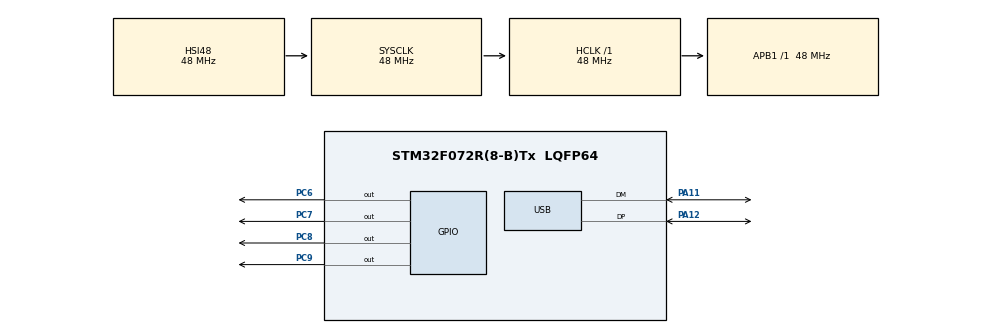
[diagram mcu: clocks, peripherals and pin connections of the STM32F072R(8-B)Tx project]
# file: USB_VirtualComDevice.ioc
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Mcu.Family=STM32F0
Mcu.Name=STM32F072R(8-B)Tx
Mcu.Package=LQFP64
NVIC.USB_IRQn=true\:0\:0\:false\:false\:true
PA11.Mode=Device
PA11.Signal=USB_DM
PA12.Mode=Device
PA12.Signal=USB_DP
PC6.Signal=GPIO_Output
PC7.Signal=GPIO_Output
PC8.Signal=GPIO_Output
PC9.Signal=GPIO_Output
ProjectManager.HeapSize=0x200
ProjectManager.StackSize=0x400
ProjectManager.TargetToolchain=EWARM
RCC.AHBFreq_Value=48000000
RCC.APB1Freq_Value=48000000
RCC.APB1TimFreq_Value=48000000
RCC.HCLKFreq_Value=48000000
RCC.SYSCLKFreq_VALUE=48000000
RCC.SYSCLKSource=RCC_SYSCLKSOURCE_HSI48
USB_DEVICE.CLASS_NAME_FS=CDC
USB_DEVICE.USBD_HandleTypeDef=hUsbDeviceFS
USB_DEVICE.VirtualMode=Cdc
USB_DEVICE.VirtualModeFS=Cdc_FS
VP_USB_DEVICE_VS_USB_DEVICE_CDC_FS.Mode=CDC_FS
board=USB_VirtualComDevice

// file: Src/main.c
/**
  ******************************************************************************
  * File Name          : main.c
  * Description        : Main program body
  ******************************************************************************
  *
  * COPYRIGHT(c) 2016 STMicroelectronics
  *
  * Redistribution and use in source and binary forms, with or without modification,
  * are permitted provided that the following conditions are met:
  *   1. Redistributions of source code must retain the above copyright notice,
  *      this list of conditions and the following disclaimer.
  *   2. Redistributions in binary form must reproduce the above copyright notice,
  *      this list of conditions and the following disclaimer in the documentation
  *      and/or other materials provided with the distribution.
  *   3. Neither the name of STMicroelectronics nor the names of its contributors
  *      may be used to endorse or promote products derived from this software
  *      without specific prior written permission.
  *
  * THIS SOFTWARE IS PROVIDED BY THE COPYRIGHT HOLDERS AND CONTRIBUTORS "AS IS"
  * AND ANY EXPRESS OR IMPLIED WARRANTIES, INCLUDING, BUT NOT LIMITED TO, THE
  * IMPLIED WARRANTIES OF MERCHANTABILITY AND FITNESS FOR A PARTICULAR PURPOSE ARE
  * DISCLAIMED. IN NO EVENT SHALL THE COPYRIGHT HOLDER OR CONTRIBUTORS BE LIABLE
  * FOR ANY DIRECT, INDIRECT, INCIDENTAL, SPECIAL, EXEMPLARY, OR CONSEQUENTIAL
  * DAMAGES (INCLUDING, BUT NOT LIMITED TO, PROCUREMENT OF SUBSTITUTE GOODS OR
  * SERVICES; LOSS OF USE, DATA, OR PROFITS; OR BUSINESS INTERRUPTION) HOWEVER
  * CAUSED AND ON ANY THEORY OF LIABILITY, WHETHER IN CONTRACT, STRICT LIABILITY,
  * OR TORT (INCLUDING NEGLIGENCE OR OTHERWISE) ARISING IN ANY WAY OUT OF THE USE
  * OF THIS SOFTWARE, EVEN IF ADVISED OF THE POSSIBILITY OF SUCH DAMAGE.
  *
  ******************************************************************************
  */
#include "stm32f0xx_hal.h"
#include "usb_device.h"
#include "gpio.h"

/* USER CODE BEGIN Includes */
//------------------------------------------------------------------------------
/* Projeto    : USB_VirtualComDevice
 * MCU        : STM32F072RB (32F072BDISCOVERY)
 * Copyright  : Atribuição (CC BY 4.0) Diego Moreno
 * Versão     : 1.0.0
 * Data	      : 01/07/2016
 * Descrição  : Cria uma interface USB/Serial com o PC, para que seja possível
 *              pisca os LEDs da placa 32F072BDISCOVERY com o teclado e um
 *              terminal.
 */

/* Includes */

//------------------------------------------------------------------------------
/* USER CODE END Includes */

/* USER CODE BEGIN PV */
/* Private variables ---------------------------------------------------------*/
uint8_t RX_usb_buff[50];
uint8_t TX_usb_buff[50];

uint8_t RX_buff = 0xFF;
/* USER CODE END PV */

void SystemClock_Config(void);
void Error_Handler(void);

/* USER CODE BEGIN PFP */
/* Private function prototypes -----------------------------------------------*/
extern uint8_t CDC_Transmit_FS(uint8_t* Buf, uint16_t Len);
/* USER CODE END PFP */

int main(void)
{

  /* MCU Configuration----------------------------------------------------------*/

  /* Reset of all peripherals, Initializes the Flash interface and the Systick. */
  HAL_Init();

  /* Configure the system clock */
  SystemClock_Config();

  /* Initialize all configured peripherals */
  MX_GPIO_Init();
  MX_USB_DEVICE_Init();

  /* Infinite loop */
  while (1)
  {

  /* USER CODE BEGIN 3 */

    //Espera recebimento USB
    while(RX_buff == 0xFF);

    switch(RX_buff)
    {
      case 'w' :
        HAL_GPIO_WritePin(GPIOC, GPIO_PIN_6, GPIO_PIN_SET);//UP
        HAL_GPIO_WritePin(GPIOC, GPIO_PIN_9, GPIO_PIN_RESET);//RIGHT
        HAL_GPIO_WritePin(GPIOC, GPIO_PIN_7, GPIO_PIN_RESET);//DOWN
        HAL_GPIO_WritePin(GPIOC, GPIO_PIN_8, GPIO_PIN_RESET);//LEFT

        CDC_Transmit_FS("\r\nLED Vermelho\r\n", 16);
        break;
      case 'W' :
        HAL_GPIO_WritePin(GPIOC, GPIO_PIN_6, GPIO_PIN_SET);//UP
        HAL_GPIO_WritePin(GPIOC, GPIO_PIN_9, GPIO_PIN_RESET);//RIGHT
        HAL_GPIO_WritePin(GPIOC, GPIO_PIN_7, GPIO_PIN_RESET);//DOWN
        HAL_GPIO_WritePin(GPIOC, GPIO_PIN_8, GPIO_PIN_RESET);//LEFT

        CDC_Transmit_FS("\r\nLED Vermelho\r\n", 16);
        break;
      case 'd' :
        HAL_GPIO_WritePin(GPIOC, GPIO_PIN_6, GPIO_PIN_RESET);//UP
        HAL_GPIO_WritePin(GPIOC, GPIO_PIN_9, GPIO_PIN_SET);//RIGHT
        HAL_GPIO_WritePin(GPIOC, GPIO_PIN_7, GPIO_PIN_RESET);//DOWN
        HAL_GPIO_WritePin(GPIOC, GPIO_PIN_8, GPIO_PIN_RESET);//LEFT

        CDC_Transmit_FS("\r\nLED Verde\r\n", 13);
        break;
      case 'D' :
        HAL_GPIO_WritePin(GPIOC, GPIO_PIN_6, GPIO_PIN_RESET);//UP
        HAL_GPIO_WritePin(GPIOC, GPIO_PIN_9, GPIO_PIN_SET);//RIGHT
        HAL_GPIO_WritePin(GPIOC, GPIO_PIN_7, GPIO_PIN_RESET);//DOWN
        HAL_GPIO_WritePin(GPIOC, GPIO_PIN_8, GPIO_PIN_RESET);//LEFT

        CDC_Transmit_FS("\r\nLED Verde\r\n", 13);
        break;
      case 's' :
        HAL_GPIO_WritePin(GPIOC, GPIO_PIN_6, GPIO_PIN_RESET);//UP
        HAL_GPIO_WritePin(GPIOC, GPIO_PIN_9, GPIO_PIN_RESET);//RIGHT
        HAL_GPIO_WritePin(GPIOC, GPIO_PIN_7, GPIO_PIN_SET);//DOWN
        HAL_GPIO_WritePin(GPIOC, GPIO_PIN_8, GPIO_PIN_RESET);//LEFT

        CDC_Transmit_FS("\r\nLED Azul\r\n", 12);
        break;
      case 'S' :
        HAL_GPIO_WritePin(GPIOC, GPIO_PIN_6, GPIO_PIN_RESET);//UP
        HAL_GPIO_WritePin(GPIOC, GPIO_PIN_9, GPIO_PIN_RESET);//RIGHT
        HAL_GPIO_WritePin(GPIOC, GPIO_PIN_7, GPIO_PIN_SET);//DOWN
        HAL_GPIO_WritePin(GPIOC, GPIO_PIN_8, GPIO_PIN_RESET);//LEFT

        CDC_Transmit_FS("\r\nLED Azul\r\n", 12);
        break;
      case 'a' :
        HAL_GPIO_WritePin(GPIOC, GPIO_PIN_6, GPIO_PIN_RESET);//UP
        HAL_GPIO_WritePin(GPIOC, GPIO_PIN_9, GPIO_PIN_RESET);//RIGHT
        HAL_GPIO_WritePin(GPIOC, GPIO_PIN_7, GPIO_PIN_RESET);//DOWN
        HAL_GPIO_WritePin(GPIOC, GPIO_PIN_8, GPIO_PIN_SET);//LEFT

        CDC_Transmit_FS("\r\nLED Laranja\r\n", 15);
        break;
      case 'A' :
        HAL_GPIO_WritePin(GPIOC, GPIO_PIN_6, GPIO_PIN_RESET);//UP
        HAL_GPIO_WritePin(GPIOC, GPIO_PIN_9, GPIO_PIN_RESET);//RIGHT
        HAL_GPIO_WritePin(GPIOC, GPIO_PIN_7, GPIO_PIN_RESET);//DOWN
        HAL_GPIO_WritePin(GPIOC, GPIO_PIN_8, GPIO_PIN_SET);//LEFT

        CDC_Transmit_FS("\r\nLED Laranja\r\n", 15);
        break;
      default :
        break;
    }

    RX_buff = 0xFF;
  }
  /* USER CODE END 3 */

}

/** System Clock Configuration
*/
void SystemClock_Config(void)
{

  RCC_OscInitTypeDef RCC_OscInitStruct;
  RCC_ClkInitTypeDef RCC_ClkInitStruct;
  RCC_PeriphCLKInitTypeDef PeriphClkInit;

  RCC_OscInitStruct.OscillatorType = RCC_OSCILLATORTYPE_HSI48;
  RCC_OscInitStruct.HSI48State = RCC_HSI48_ON;
  RCC_OscInitStruct.PLL.PLLState = RCC_PLL_NONE;
  if (HAL_RCC_OscConfig(&RCC_OscInitStruct) != HAL_OK)
  {
    Error_Handler();
  }

  RCC_ClkInitStruct.ClockType = RCC_CLOCKTYPE_HCLK|RCC_CLOCKTYPE_SYSCLK
                              |RCC_CLOCKTYPE_PCLK1;
  RCC_ClkInitStruct.SYSCLKSource = RCC_SYSCLKSOURCE_HSI48;
  RCC_ClkInitStruct.AHBCLKDivider = RCC_SYSCLK_DIV1;
  RCC_ClkInitStruct.APB1CLKDivider = RCC_HCLK_DIV1;
  if (HAL_RCC_ClockConfig(&RCC_ClkInitStruct, FLASH_LATENCY_1) != HAL_OK)
  {
    Error_Handler();
  }

  PeriphClkInit.PeriphClockSelection = RCC_PERIPHCLK_USB;
  PeriphClkInit.UsbClockSelection = RCC_USBCLKSOURCE_HSI48;
  if (HAL_RCCEx_PeriphCLKConfig(&PeriphClkInit) != HAL_OK)
  {
    Error_Handler();
  }

  HAL_SYSTICK_Config(HAL_RCC_GetHCLKFreq()/1000);

  HAL_SYSTICK_CLKSourceConfig(SYSTICK_CLKSOURCE_HCLK);

  /* SysTick_IRQn interrupt configuration */
  HAL_NVIC_SetPriority(SysTick_IRQn, 0, 0);
}

void Error_Handler(void)
{
  while(1)
  {
  }
}

/************************ (C) COPYRIGHT STMicroelectronics *****END OF FILE****/
